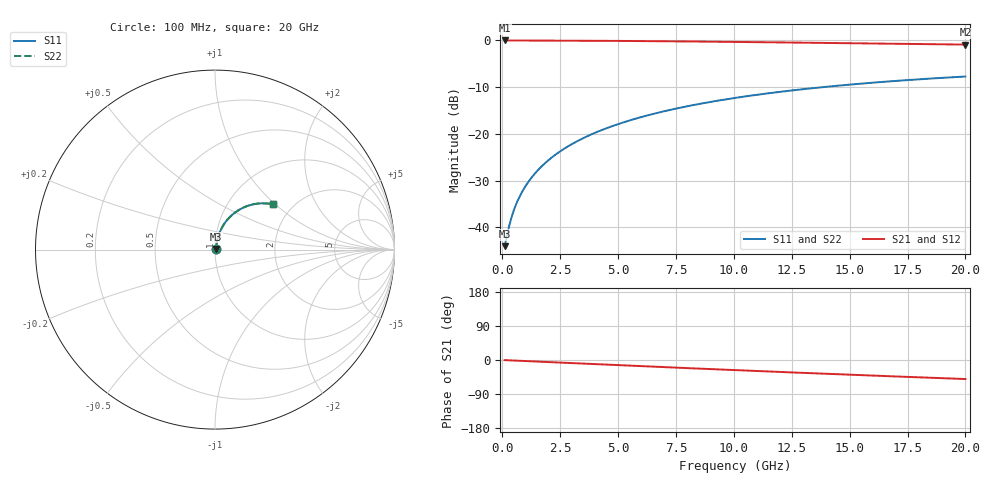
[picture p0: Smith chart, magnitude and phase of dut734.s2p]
! Touchstone file exported from HFSS 2026.1.0
!  File:  C:/ffzhzh/LocalFiles/Ansys_Project_Files/temp_train_TMRDL_734_1783154983_43440.aedt
!  Generated:  04:50:57 PM Jul  4, 2026
!  Design:  TMRDL
!  Project:  temp_train_TMRDL_734_1783154983_43440
! Variables:
!  h_bsmrdl = 2um
!  h_ox = 20um
!  h_rdl = 5um
!  h_sub = 80um
!  h_tmrdl = 2.45um
!  h_tsv = 80um
!  h_via = 3um
!  l_bsmrdl = 300um
!  l_sub = 1176.98um
!  l_tmrdl = 776.98um
!  m_sub = 200um
!  pitch = 40.78um
!  r_tsv = 6um
!  s_tmrdl = 10um
!  w_bsmrdl = 18um
!  w_sub = 500um
!  w_tmrdl = 20.81um
!  x_tsv_center1 = 787.385um
!  x_tsv_center2 = 1105.385um
!  x_tsv_center3 = 1903.175um
!  x_tsv_center4 = 2221.175um
!  x_tsv_center5 = 3018.965um
!  x_tsv_center6 = 3336.965um
# GHz S MA R 50.000000
! Terminal data exported
! Port[1] = TM_RDL1_1_T1
! Port[2] = TM_RDL1_1_T2
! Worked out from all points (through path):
!   200 points, 100 MHz to 20 GHz, reference 50 ohm
!   highest |S21| = -0.05 dB at 100 MHz (marker M1); lowest = -0.9 dB at 20 GHz (marker M2)
!   group delay of S21, straight-line fit = 6.99 ps
!   lowest |S11| = -44.0 dB at 100 MHz (marker M3), VSWR 1.01, Z = 50.6 + j0.293 ohm
!   |S11| at or under -10 dB: start of sweep to 13.88 GHz
!   |S22| runs from -44.0 to -7.8 dB; largest |S21 - S12| = 3.5e-15
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0.1  0.006317 27.3  0.9944 -0.3  0.9944 -0.3  0.006317 27.3
! Gamma 0 0 0 0
! Port Impedance 50 0 50 0
0.3  0.01045 54.3  0.994 -0.9  0.994 -0.9  0.01045 54.3
0.4  0.01287 60.0  0.9937 -1.1  0.9937 -1.1  0.01287 60.0
0.5  0.01532 63.8  0.9935 -1.4  0.9935 -1.4  0.01532 63.8
0.6  0.01777 66.5  0.9933 -1.7  0.9933 -1.7  0.01777 66.5
0.8  0.02267 70.1  0.9929 -2.2  0.9929 -2.2  0.02267 70.1
1  0.02758 72.3  0.9926 -2.8  0.9926 -2.8  0.02758 72.3
1.2  0.03253 73.8  0.9923 -3.3  0.9923 -3.3  0.03253 73.8
1.4  0.03749 74.8  0.992 -3.9  0.992 -3.9  0.0375 74.8
1.7  0.04499 75.8  0.9916 -4.7  0.9916 -4.7  0.04499 75.8
2.2  0.05753 76.3  0.9907 -6.0  0.9907 -6.0  0.05753 76.3
2.8  0.07259 76.2  0.9896 -7.6  0.9896 -7.6  0.07259 76.2
3.5  0.09009 75.4  0.9879 -9.5  0.9879 -9.5  0.09009 75.4
4.2  0.1075 74.2  0.986 -11.4  0.986 -11.4  0.1075 74.2
5  0.1271 72.6  0.9834 -13.6  0.9834 -13.6  0.1271 72.6
5.9  0.1487 70.6  0.98 -15.9  0.98 -15.9  0.1487 70.6
6.8  0.1699 68.6  0.9761 -18.3  0.9761 -18.3  0.1699 68.5
8.3  0.2041 65.0  0.9689 -22.2  0.9689 -22.2  0.2041 65.0
10.1  0.243 60.7  0.9592 -26.8  0.9592 -26.8  0.243 60.6
13.4  0.3076 52.8  0.9393 -35.0  0.9393 -35.0  0.3076 52.8
16.7  0.3632 45.2  0.9184 -42.8  0.9184 -42.8  0.3632 45.2
20  0.4097 37.9  0.8983 -50.2  0.8983 -50.2  0.4097 37.9
